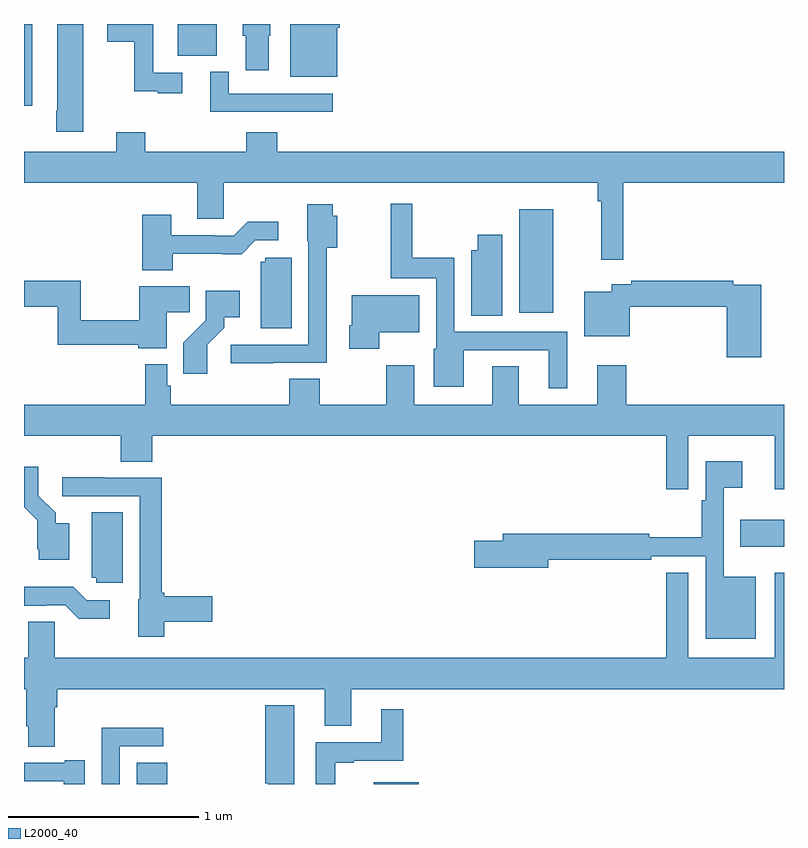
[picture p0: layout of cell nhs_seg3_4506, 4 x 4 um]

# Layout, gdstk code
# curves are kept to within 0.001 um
import gdstk
lib = gdstk.Library(unit=1e-6, precision=1e-09)
def R(c, l, rs):  # rectangles x0, y0, x1, y1
    for r in rs: c.add(gdstk.rectangle(r[:2], r[2:], *l))
def P(c, l, *ps):  # polygons
    for p in ps: c.add(gdstk.Polygon(p, *l))
L2000_40 = (2000, 40)

nhs_seg3_4506 = lib.new_cell('nhs_seg3_4506')
R(nhs_seg3_4506, L2000_40, [(351.593,716.4,351.755,716.513), (352.841,716.4,353.077,716.41), (354.769,717.65,355,717.79), (353.606,718.88,353.785,719.425), (351,719.97,351.043,720.4), (351.809,720.233,352.015,720.4)])
P(nhs_seg3_4506, L2000_40, [(351.832,720.144),(351.681,720.144),(351.681,720.4),(351.438,720.4),(351.438,720.307),(351.58,720.307),(351.58,720.047),(351.704,720.047),(351.704,720.036),(351.832,720.036)],
  [(352.288,720.339),(352.297,720.339),(352.297,720.4),(352.151,720.4),(352.151,720.339),(352.166,720.339),(352.166,720.156),(352.288,720.156)],
  [(351.313,720.4),(351.176,720.4),(351.176,719.944),(351.169,719.944),(351.169,719.832),(351.313,719.832)],
  [(352.648,720.38),(352.661,720.38),(352.661,720.4),(352.4,720.4),(352.4,720.122),(352.648,720.122)],
  [(352.624,720.033),(352.077,720.033),(352.077,720.148),(351.98,720.148),(351.98,719.937),(352.624,719.937)],
  [(354.155,719.564),(355,719.564),(355,719.728),(352.334,719.728),(352.334,719.83),(352.169,719.83),(352.169,719.728),(351.638,719.728),(351.638,719.83),(351.485,719.83),(351.485,719.728),(351,719.728),(351,719.564),(351.911,719.564),(351.911,719.374),(352.05,719.374),(352.05,719.564),(354.019,719.564),(354.019,719.468),(354.037,719.468),(354.037,719.16),(354.155,719.16)],
  [(353.86,718.779),(353.265,718.779),(353.265,719.17),(353.044,719.17),(353.044,719.455),(352.93,719.455),(352.93,719.061),(353.169,719.061),(353.169,718.692),(353.156,718.692),(353.156,718.49),(353.314,718.49),(353.314,718.683),(353.762,718.683),(353.762,718.482),(353.86,718.482)],
  [(352.313,718.617),(352.593,718.617),(352.593,718.868),(352.594,718.868),(352.594,719.222),(352.648,719.222),(352.648,719.392),(352.626,719.392),(352.626,719.452),(352.49,719.452),(352.49,719.256),(352.497,719.256),(352.497,718.713),(352.089,718.713),(352.089,718.615),(352.313,718.615)],
  [(351.783,719.19),(352.145,719.189),(352.218,719.262),(352.339,719.262),(352.339,719.359),(352.177,719.359),(352.104,719.286),(352.004,719.286),(352.004,719.289),(351.775,719.289),(351.775,719.395),(351.623,719.395),(351.623,719.105),(351.783,719.105)],
  [(353.518,719.29),(353.389,719.29),(353.389,719.209),(353.354,719.209),(353.354,718.864),(353.518,718.864)],
  [(352.408,719.169),(352.269,719.169),(352.269,719.148),(352.247,719.148),(352.247,718.8),(352.408,718.8)],
  [(354.881,719.028),(354.734,719.028),(354.734,719.048),(354.196,719.048),(354.196,719.029),(354.093,719.029),(354.093,718.99),(353.948,718.99),(353.948,718.757),(354.189,718.757),(354.189,718.912),(354.698,718.912),(354.698,718.647),(354.881,718.647)],
  [(351.751,718.882),(351.872,718.882),(351.872,719.02),(351.607,719.02),(351.607,718.841),(351.298,718.841),(351.298,719.048),(351,719.048),(351,718.912),(351.177,718.912),(351.177,718.713),(351.602,718.713),(351.602,718.694),(351.751,718.694)],
  [(351.964,718.711),(352.054,718.801),(352.054,718.856),(352.135,718.856),(352.135,718.996),(351.957,718.996),(351.957,718.841),(351.838,718.722),(351.838,718.56),(351.964,718.56)],
  [(352.87,718.778),(353.08,718.778),(353.08,718.972),(352.724,718.972),(352.724,718.815),(352.712,718.815),(352.712,718.69),(352.87,718.69)],
  [(354.495,718.232),(354.95,718.232),(354.95,717.951),(355,717.951),(355,718.396),(354.17,718.396),(354.17,718.603),(354.017,718.603),(354.017,718.396),(353.605,718.396),(353.605,718.598),(353.465,718.598),(353.465,718.396),(353.053,718.396),(353.053,718.603),(352.906,718.603),(352.906,718.396),(352.557,718.396),(352.557,718.532),(352.397,718.532),(352.397,718.396),(351.773,718.396),(351.773,718.497),(351.753,718.497),(351.753,718.609),(351.637,718.609),(351.637,718.396),(351,718.396),(351,718.232),(351.509,718.232),(351.509,718.096),(351.674,718.096),(351.674,718.232),(354.379,718.232),(354.379,717.951),(354.495,717.951)],
  [(354.85,717.49),(354.684,717.49),(354.684,717.959),(354.781,717.959),(354.781,718.099),(354.588,718.099),(354.588,717.894),(354.568,717.894),(354.568,717.699),(354.291,717.699),(354.291,717.716),(353.519,717.716),(353.519,717.68),(353.37,717.68),(353.37,717.538),(353.758,717.538),(353.758,717.58),(354.302,717.58),(354.302,717.6),(354.587,717.6),(354.587,717.164),(354.85,717.164)],
  [(351.238,717.772),(351.166,717.772),(351.166,717.827),(351.076,717.917),(351.076,718.069),(351,718.069),(351,717.856),(351.069,717.787),(351.069,717.636),(351.077,717.636),(351.077,717.579),(351.238,717.579)],
  [(351.738,717.254),(351.991,717.254),(351.991,717.389),(351.738,717.389),(351.738,717.407),(351.725,717.407),(351.725,718.011),(351.425,718.011),(351.425,718.014),(351.201,718.014),(351.201,717.915),(351.609,717.915),(351.609,717.372),(351.602,717.372),(351.602,717.176),(351.738,717.176)],
  [(351.52,717.83),(351.356,717.83),(351.356,717.486),(351.381,717.486),(351.381,717.459),(351.52,717.459)],
  [(351.163,716.804),(351.176,716.804),(351.176,716.9),(352.583,716.9),(352.583,716.706),(352.723,716.706),(352.723,716.9),(355,716.9),(355,717.511),(354.951,717.511),(354.951,717.064),(354.495,717.064),(354.495,717.511),(354.379,717.511),(354.379,717.064),(351.162,717.064),(351.162,717.254),(351.023,717.254),(351.023,717.064),(351,717.064),(351,716.9),(351.011,716.9),(351.011,716.704),(351.023,716.704),(351.023,716.596),(351.163,716.596)],
  [(351.451,717.366),(351.33,717.366),(351.259,717.437),(351,717.437),(351,717.339),(351.116,717.339),(351.116,717.342),(351.216,717.342),(351.289,717.269),(351.451,717.269)],
  [(352.423,716.815),(352.271,716.815),(352.271,716.405),(352.283,716.405),(352.283,716.4),(352.423,716.4)],
  [(352.639,716.511),(352.735,716.511),(352.735,716.523),(352.997,716.523),(352.997,716.794),(352.88,716.794),(352.88,716.619),(352.535,716.619),(352.535,716.4),(352.639,716.4)],
  [(351.504,716.598),(351.733,716.598),(351.733,716.696),(351.408,716.696),(351.408,716.4),(351.504,716.4)],
  [(351.319,716.524),(351.215,716.524),(351.215,716.511),(351,716.511),(351,716.415),(351.209,716.415),(351.209,716.4),(351.319,716.4)])

lib.write_gds('nhs_seg3_4506.gds')
